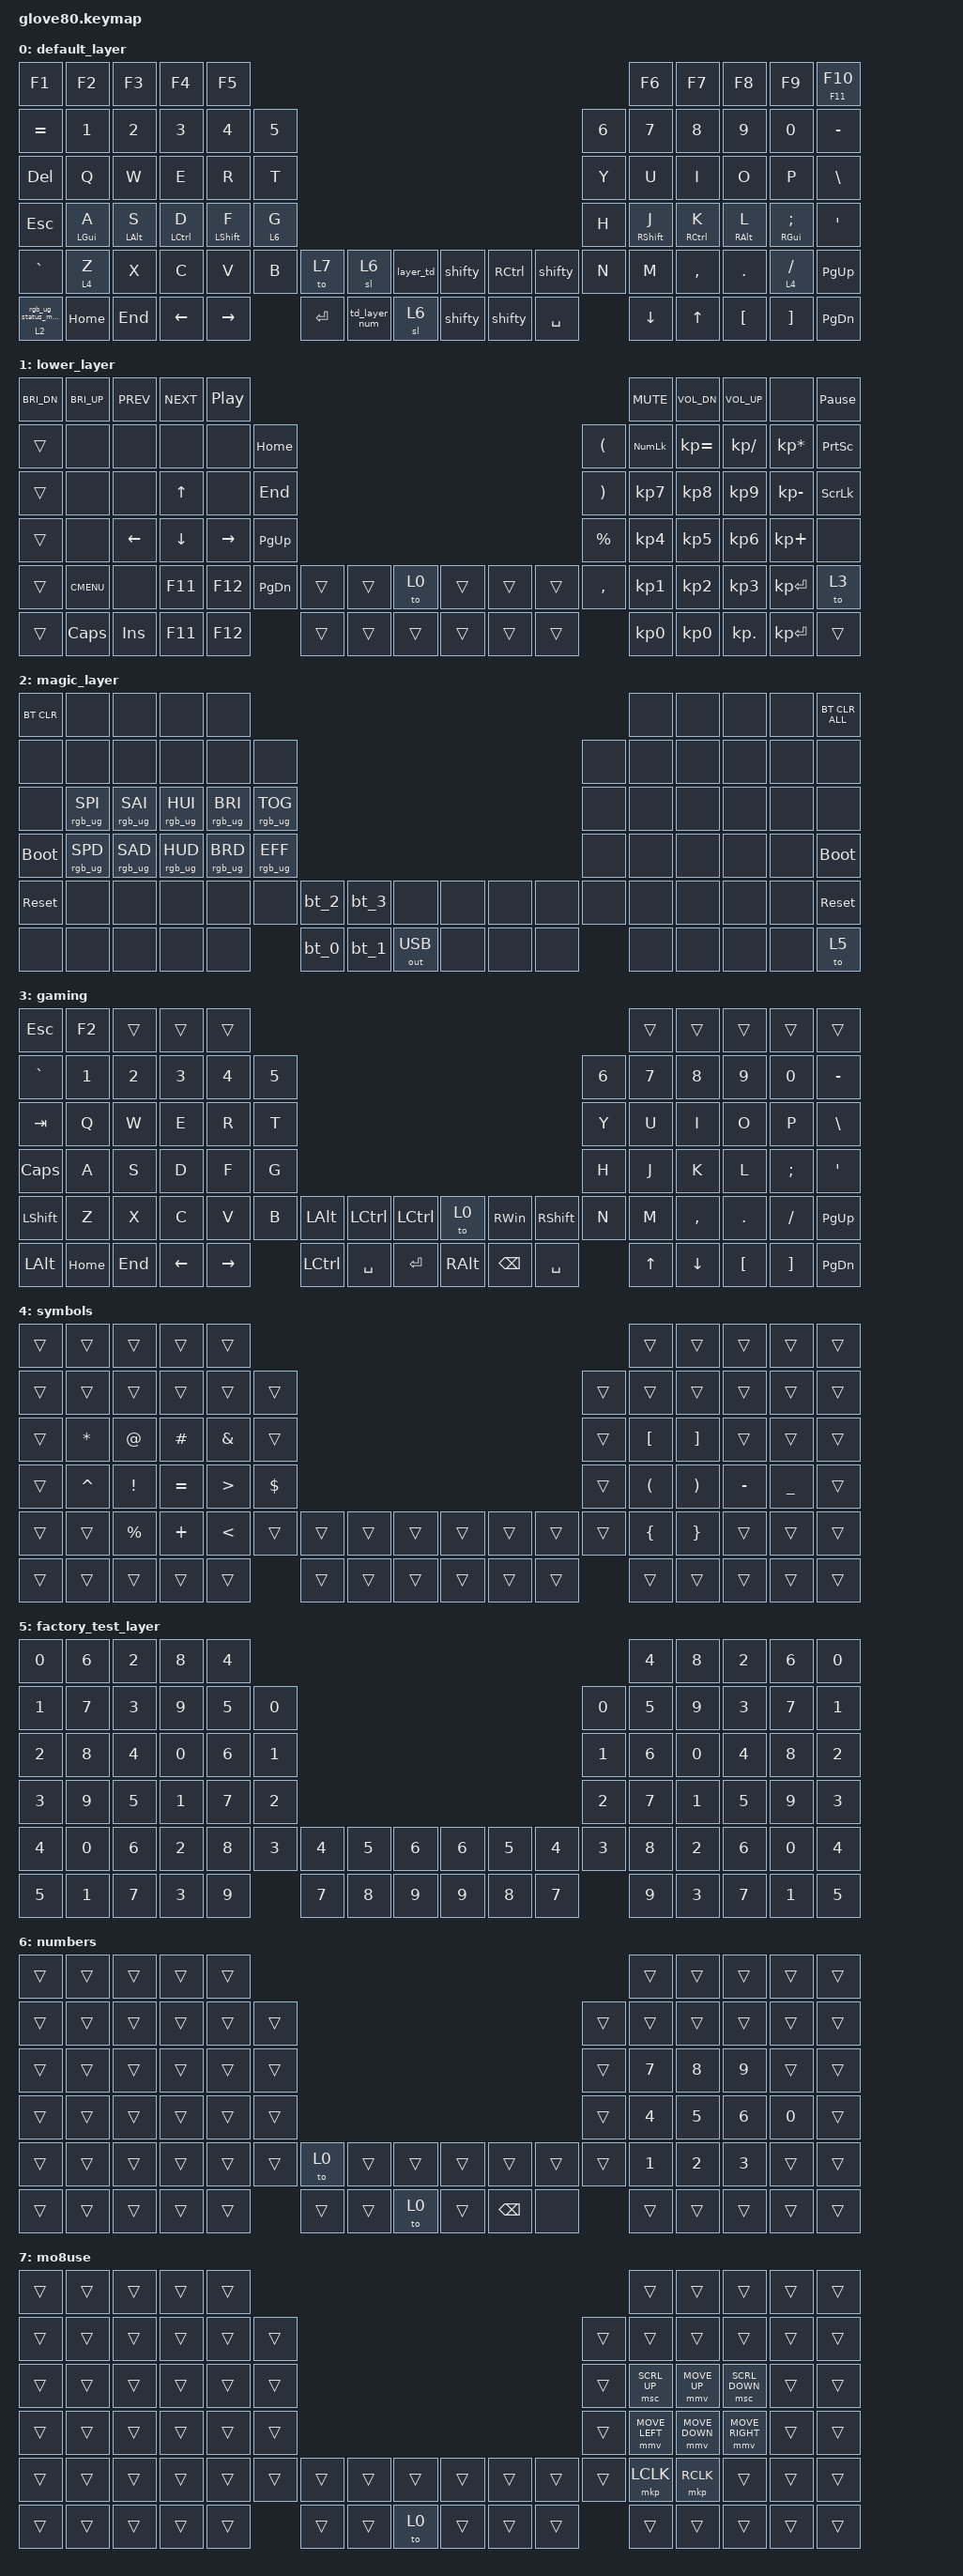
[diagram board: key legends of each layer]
/*
 * Copyright (c) 2020 The ZMK Contributors
 *
 * SPDX-License-Identifier: MIT
 */

#include <behaviors.dtsi>
#include <dt-bindings/zmk/bt.h>
#include <dt-bindings/zmk/keys.h>
#include <dt-bindings/zmk/outputs.h>
#include <dt-bindings/zmk/pointing.h>
#include <dt-bindings/zmk/rgb.h>

#define HYPER LC(LS(LG(LALT)))

// layers

#define DEFAULT 0
#define LOWER 1
#define MAGIC 2
#define FACTORY_TEST 3
#define SHORT_COMBO_TIMEOUT 18
#define COMBO_TIMEOUT_LEFT 18
#define PRIOR_IDLE_COMBO 150
#define HOME_ROW_MOD_IDLE 150
#define MOD_FLAVOR "balanced"
#define MOD_TAP_TERM 280
#define MOD_QUICK_TAP 200

&sk { quick-release; };

/ {
    behaviors {
        // For the "layer" key, it'd nice to be able to use it as either a shift or a toggle.
        // Configure it as a tap dance, so the first tap (or hold) is a &mo and the second tap is a &to

        layer_td: tap_dance_0 {
            compatible = "zmk,behavior-tap-dance";
            label = "LAYER_TAP_DANCE";
            #binding-cells = <0>;
            tapping-term-ms = <200>;
            bindings = <&mo 1>, <&to 1>;
        };

        magic: magic_hold_tap {
            compatible = "zmk,behavior-hold-tap";
            label = "MAGIC_HOLD_TAP";
            #binding-cells = <2>;
            flavor = "tap-preferred";
            tapping-term-ms = <200>;
            bindings = <&mo>, <&rgb_ug_status_macro>;
        };

        hml: hml {
            compatible = "zmk,behavior-hold-tap";
            label = "HML";
            bindings = <&kp>, <&kp>;

            #binding-cells = <2>;
            tapping-term-ms = <MOD_TAP_TERM>;
            hold-trigger-on-release;
            quick-tap-ms = <MOD_QUICK_TAP>;
            require-prior-idle-ms = <HOME_ROW_MOD_IDLE>;
            flavor =
            MOD_FLAVOR;
            hold-trigger-key-positions = <55 56 57 73 74 72 79 78 62 63 45 44 33 32 21 20 9 8 7 19 31 43 77 76 60 61 42 30 18 6 5 17 29 41 75 58 40 59 28 16 52 53 54 71 70 69>;
        };

        hmr: hmr {
            compatible = "zmk,behavior-hold-tap";
            label = "HMR";
            bindings = <&kp>, <&kp>;

            #binding-cells = <2>;
            tapping-term-ms = <MOD_TAP_TERM>;
            hold-trigger-on-release;
            quick-tap-ms = <MOD_QUICK_TAP>;
            require-prior-idle-ms = <HOME_ROW_MOD_IDLE>;
            flavor =
            MOD_FLAVOR;
            hold-trigger-key-positions = <54 71 70 53 52 69 68 51 50 38 39 27 26 14 4 15 3 13 25 37 49 67 66 36 24 12 2 1 11 23 35 47 48 65 64 46 34 22 10 0 55 56 57 74 73 72>;
        };

        hml_shift: hml_shift {
            compatible = "zmk,behavior-hold-tap";
            label = "HML_SHIFT";
            bindings = <&kp>, <&kp>;

            #binding-cells = <2>;
            tapping-term-ms = <280>;
            quick-tap-ms = <200>;
            flavor = "balanced";
            hold-trigger-key-positions = <55 56 57 73 74 72 79 78 62 63 45 44 33 32 21 20 9 8 7 19 31 43 77 76 60 61 42 30 18 6 5 17 29 41 75 58 40 59 28 16 52 53 54 71 70 69>;
            hold-trigger-on-release;
        };

        hmr_shift: hmr_shift {
            compatible = "zmk,behavior-hold-tap";
            label = "HMR_SHIFT";
            bindings = <&kp>, <&kp>;

            #binding-cells = <2>;
            tapping-term-ms = <280>;
            quick-tap-ms = <200>;
            flavor = "balanced";
            hold-trigger-key-positions = <54 71 70 53 52 69 68 51 50 38 39 27 26 14 4 15 3 13 25 37 49 67 66 36 24 12 2 1 11 23 35 47 48 65 64 46 34 22 10 0 55 56 57 74 73 72>;
            hold-trigger-on-release;
        };

        sticky_shift: sticky_shift {
            compatible = "zmk,behavior-sticky-key";
            label = "STICKY_SHIFT";
            bindings = <&sk>;
            #binding-cells = <1>;
            release-after-ms = <300>;
            quick-release;
        };

        lt_left: lt_left {
            compatible = "zmk,behavior-hold-tap";
            label = "LT_LEFT";
            bindings = <&mo>, <&kp>;

            #binding-cells = <2>;
            tapping-term-ms = <175>;
            quick-tap-ms = <200>;
            flavor = "balanced";
            hold-trigger-key-positions = <55 56 57 73 74 72 79 78 62 63 45 44 33 32 21 20 9 8 7 19 31 43 77 76 60 61 42 30 18 6 5 17 29 41 75 58 40 59 28 16 52 53 54 71 70 69>;
            hold-trigger-on-release;
        };

        lt_right: lt_right {
            compatible = "zmk,behavior-hold-tap";
            label = "LT_RIGHT";
            bindings = <&mo>, <&kp>;

            #binding-cells = <2>;
            tapping-term-ms = <175>;
            quick-tap-ms = <200>;
            flavor = "balanced";
            hold-trigger-key-positions = <54 71 70 53 52 69 68 51 50 38 39 27 26 14 4 15 3 13 25 37 49 67 66 36 24 12 2 1 11 23 35 47 48 65 64 46 34 22 10 0 55 56 57 74 73 72>;
            hold-trigger-on-release;
        };

        shifty: shifty {
            compatible = "zmk,behavior-mod-morph";
            label = "SHIFTY";
            bindings = <&sticky_shift LEFT_SHIFT>, <&caps_word>;

            #binding-cells = <0>;
            mods = <(MOD_LSFT)>;
        };

        layer_left: layer_left {
            compatible = "zmk,behavior-hold-tap";
            label = "LAYER_LEFT";
            bindings = <&mo>, <&kp>;

            #binding-cells = <2>;
            tapping-term-ms = <280>;
            hold-trigger-on-release;
            quick-tap-ms = <200>;
            require-prior-idle-ms = <125>;
            flavor = "balanced";
            hold-trigger-key-positions = <55 56 57 73 74 72 79 78 62 63 45 44 33 32 21 20 9 8 7 19 31 43 77 76 60 61 42 30 18 6 5 17 29 41 75 58 40 59 28 16 52 53 54 71 70 69>;
        };

        layer_right: layer_right {
            compatible = "zmk,behavior-hold-tap";
            label = "LAYER_RIGHT";
            bindings = <&mo>, <&kp>;

            #binding-cells = <2>;
            tapping-term-ms = <280>;
            hold-trigger-on-release;
            quick-tap-ms = <200>;
            require-prior-idle-ms = <125>;
            flavor = "balanced";
            hold-trigger-key-positions = <54 71 70 53 52 69 68 51 50 38 39 27 26 14 4 15 3 13 25 37 49 67 66 36 24 12 2 1 11 23 35 47 48 65 64 46 34 22 10 0 55 56 57 74 73 72>;
        };

        td_layer_num: td_layer_num {
            compatible = "zmk,behavior-tap-dance";
            label = "TD_LAYER_NUM";
            #binding-cells = <0>;
            tapping-term-ms = <400>;
            bindings = <&sl 4>, <&to 6>;
        };
    };

    macros {
        rgb_ug_status_macro: rgb_ug_status_macro_0 {
            label = "RGB_UG_STATUS";
            compatible = "zmk,behavior-macro";
            #binding-cells = <0>;
            bindings = <&rgb_ug RGB_STATUS>;
        };

        bt_0: bt_profile_macro_0 {
            label = "BT_0";
            compatible = "zmk,behavior-macro";
            #binding-cells = <0>;
            bindings = <&out OUT_BLE &bt BT_SEL 0>;
        };

        bt_1: bt_profile_macro_1 {
            label = "BT_1";
            compatible = "zmk,behavior-macro";
            #binding-cells = <0>;
            bindings = <&out OUT_BLE &bt BT_SEL 1>;
        };

        bt_2: bt_profile_macro_2 {
            label = "BT_2";
            compatible = "zmk,behavior-macro";
            #binding-cells = <0>;
            bindings = <&out OUT_BLE &bt BT_SEL 2>;
        };

        bt_3: bt_profile_macro_3 {
            label = "BT_3";
            compatible = "zmk,behavior-macro";
            #binding-cells = <0>;
            bindings = <&out OUT_BLE &bt BT_SEL 3>;
        };
    };

    combos {
        compatible = "zmk,combos";
        require-prior-idle-ms = <PRIOR_IDLE_COMBO>;

        right_paren {
            bindings = <&hmr RC(RIGHT_ALT) RIGHT_PARENTHESIS>;
            key-positions = <42 43>;
            timeout-ms = <SHORT_COMBO_TIMEOUT>;
            require-prior-idle-ms = <PRIOR_IDLE_COMBO>;
            layers = <0>;
        };

        left_bracket {
            bindings = <&kp LEFT_BRACKET>;
            key-positions = <29 30>;
            timeout-ms = <SHORT_COMBO_TIMEOUT>;
            require-prior-idle-ms = <PRIOR_IDLE_COMBO>;
            layers = <0>;
        };

        right_bracket {
            bindings = <&kp RIGHT_BRACKET>;
            key-positions = <30 31>;
            timeout-ms = <SHORT_COMBO_TIMEOUT>;
            require-prior-idle-ms = <PRIOR_IDLE_COMBO>;
            layers = <0>;
        };

        left_brace {
            bindings = <&kp LEFT_BRACE>;
            key-positions = <59 60>;
            timeout-ms = <SHORT_COMBO_TIMEOUT>;
            require-prior-idle-ms = <PRIOR_IDLE_COMBO>;
            layers = <0>;
        };

        right_brace {
            bindings = <&kp RIGHT_BRACE>;
            key-positions = <60 61>;
            timeout-ms = <SHORT_COMBO_TIMEOUT>;
            require-prior-idle-ms = <PRIOR_IDLE_COMBO>;
            layers = <0>;
        };

        underscore {
            bindings = <&hmr LC(LEFT_ALT) UNDERSCORE>;
            key-positions = <37 36>;
            timeout-ms = <COMBO_TIMEOUT_LEFT>;
            require-prior-idle-ms = <PRIOR_IDLE_COMBO>;
            layers = <0>;
        };

        plus {
            bindings = <&kp PLUS>;
            key-positions = <26 25>;
            timeout-ms = <COMBO_TIMEOUT_LEFT>;
            require-prior-idle-ms = <PRIOR_IDLE_COMBO>;
            layers = <0>;
        };

        equals {
            bindings = <&kp EQUAL>;
            key-positions = <25 24>;
            timeout-ms = <COMBO_TIMEOUT_LEFT>;
            require-prior-idle-ms = <PRIOR_IDLE_COMBO>;
            layers = <0>;
        };

        bang {
            bindings = <&kp EXCLAMATION>;
            key-positions = <23 24>;
            timeout-ms = <COMBO_TIMEOUT_LEFT>;
            require-prior-idle-ms = <150>;
            layers = <0>;
        };

        at {
            bindings = <&hml LEFT_SHIFT AT>;
            key-positions = <49 38>;
            timeout-ms = <COMBO_TIMEOUT_LEFT>;
            require-prior-idle-ms = <PRIOR_IDLE_COMBO>;
            layers = <0>;
        };

        // star {
        //   bindings = <&kp ASTERISK>;
        // key-positions = <31 32>;
        //timeout-ms = <SHORT_COMBO_TIMEOUT>;
        //require-prior-idle-ms = <PRIOR_IDLE_COMBO>;
        //layers = <0>;
        //};

        percent {
            bindings = <&hml LEFT_ALT PERCENT>;
            key-positions = <37 50>;
            timeout-ms = <COMBO_TIMEOUT_LEFT>;
            require-prior-idle-ms = <PRIOR_IDLE_COMBO>;
            layers = <0>;
        };

        lessthan {
            bindings = <&kp LESS_THAN>;
            key-positions = <50 51>;
            timeout-ms = <COMBO_TIMEOUT_LEFT>;
            require-prior-idle-ms = <PRIOR_IDLE_COMBO>;
            layers = <0>;
        };

        greaterthan {
            bindings = <&kp GREATER_THAN>;
            key-positions = <58 59>;
            timeout-ms = <SHORT_COMBO_TIMEOUT>;
            require-prior-idle-ms = <PRIOR_IDLE_COMBO>;
            layers = <0>;
        };

        qmark {
            bindings = <&kp QUESTION>;
            key-positions = <43 44>;
            timeout-ms = <SHORT_COMBO_TIMEOUT>;
            require-prior-idle-ms = <PRIOR_IDLE_COMBO>;
            layers = <0>;
        };

        car {
            bindings = <&hmr LS(LEFT_ALT) CARET>;
            key-positions = <38 36>;
            timeout-ms = <COMBO_TIMEOUT_LEFT>;
            require-prior-idle-ms = <PRIOR_IDLE_COMBO>;
            layers = <0>;
        };

        dollar {
            bindings = <&hmr RS(RIGHT_ALT) DOLLAR>;
            key-positions = <41 43>;
            timeout-ms = <SHORT_COMBO_TIMEOUT>;
            require-prior-idle-ms = <PRIOR_IDLE_COMBO>;
            layers = <0>;
        };

        star {
            bindings = <&hmr RIGHT_SHIFT ASTERISK>;
            key-positions = <41 30>;
            timeout-ms = <SHORT_COMBO_TIMEOUT>;
            require-prior-idle-ms = <PRIOR_IDLE_COMBO>;
            layers = <0>;
        };

        cash {
            bindings = <&hmr RIGHT_ALT DOLLAR>;
            key-positions = <30 43>;
            timeout-ms = <SHORT_COMBO_TIMEOUT>;
            require-prior-idle-ms = <PRIOR_IDLE_COMBO>;
            layers = <0>;
        };

        ampersand {
            bindings = <&hmr LEFT_SHIFT AMPERSAND>;
            key-positions = <38 25>;
            timeout-ms = <COMBO_TIMEOUT_LEFT>;
            require-prior-idle-ms = <PRIOR_IDLE_COMBO>;
            layers = <0>;
        };

        excl {
            bindings = <&hmr LEFT_ALT EXCL>;
            key-positions = <25 36>;
            timeout-ms = <COMBO_TIMEOUT_LEFT>;
            require-prior-idle-ms = <PRIOR_IDLE_COMBO>;
            layers = <0>;
        };

        b {
            bindings = <&hmr RS(RIGHT_CONTROL) BACKSPACE>;
            key-positions = <41 42>;
            layers = <0 6 1>;
        };

        tab {
            bindings = <&hml LS(LEFT_CONTROL) TAB>;
            key-positions = <38 37>;
            layers = <0>;
        };
    };

    keymap {
        compatible = "zmk,keymap";

        default_layer {
            // ---------------------------------------------------------------------------------------------------------------------------------
            // |  F1   |  F2 |  F3 |  F4  |  F5  |                                                               |  F6   |  F7   |  F8  |   F9  |  F10 |
            // |  =    |  1  |  2  |  3   |  4   |  5   |                                                 |  6   |   7   |   8   |  9   |   0   |   -  |
            // |  TAB  |  Q  |  W  |  E   |  R   |  T   |                                                 |  Y   |   U   |   I   |  O   |   P   |   \  |
            // |  ESC  |  A  |  S  |  D   |  F   |  G   |                                                 |  H   |   J   |   K   |  L   |   ;   |   '  |
            // |   `   |  Z  |  X  |  C   |  V   |  B   | LSHFT | LCTRL | LOWER | | LGUI  | RCTRL | RSHFT |  N   |   M   |   ,   |  .   |   /   | PGUP |
            // | MAGIC | HOME| END | LEFT | RIGHT|      | BSPC  | DEL   | LALT  | | RALT  | RET   | SPACE |      |  UP   | DOWN  |  [   |   ]   | PGDN |

            bindings = <
&kp F1      &kp F2           &kp F3           &kp F4               &kp F5                                                                                                          &kp F6              &kp F7                &kp F8            &kp F9                    &mt F11 F10
&kp EQUAL   &kp N1           &kp N2           &kp N3               &kp N4             &kp N5                                                                               &kp N6  &kp N7              &kp N8                &kp N9            &kp N0                    &kp MINUS
&kp DEL     &kp Q            &kp W            &kp E                &kp R              &kp T                                                                                &kp Y   &kp U               &kp I                 &kp O             &kp P                     &kp BSLH
&kp ESC     &hml LEFT_GUI A  &hml LEFT_ALT S  &hml LEFT_CONTROL D  &hml LEFT_SHIFT F  &layer_left 6 G                                                                      &kp H   &hmr RIGHT_SHIFT J  &hmr RIGHT_CONTROL K  &hmr RIGHT_ALT L  &hmr RIGHT_GUI SEMICOLON  &kp SQT
&kp GRAVE   &layer_left 4 Z  &kp X            &kp C                &kp V              &kp B            &to 7      &sl 6          &layer_td  &shifty  &kp RCTRL  &shifty    &kp N   &kp M               &kp COMMA             &kp DOT           &layer_right 4 SLASH      &kp PG_UP
&magic 2 0  &kp HOME         &kp END          &kp LEFT             &kp RIGHT                           &kp ENTER  &td_layer_num  &sl 6      &shifty  &shifty    &kp SPACE          &kp DOWN            &kp UP_ARROW          &kp LEFT_BRACKET  &kp RBKT                  &kp PG_DN
            >;
        };

        lower_layer {
            bindings = <
&kp C_BRI_DN  &kp C_BRI_UP  &kp C_PREV  &kp C_NEXT  &kp C_PP                                                                         &kp C_MUTE  &kp C_VOL_DN  &kp C_VOL_UP   &none            &kp PAUSE_BREAK
&trans        &none         &none       &none       &none      &kp HOME                                                   &kp LPAR   &kp KP_NUM  &kp KP_EQUAL  &kp KP_DIVIDE  &kp KP_MULTIPLY  &kp PSCRN
&trans        &none         &none       &kp UP      &none      &kp END                                                    &kp RPAR   &kp KP_N7   &kp KP_N8     &kp KP_N9      &kp KP_MINUS     &kp SLCK
&trans        &none         &kp LEFT    &kp DOWN    &kp RIGHT  &kp PG_UP                                                  &kp PRCNT  &kp KP_N4   &kp KP_N5     &kp KP_N6      &kp KP_PLUS      &none
&trans        &kp K_CMENU   &none       &kp F11     &kp F12    &kp PG_DN  &trans  &trans  &to 0   &trans  &trans  &trans  &kp COMMA  &kp KP_N1   &kp KP_N2     &kp KP_N3      &kp KP_ENTER     &to 3
&trans        &kp CAPS      &kp INS     &kp F11     &kp F12               &trans  &trans  &trans  &trans  &trans  &trans             &kp KP_N0   &kp KP_N0     &kp KP_DOT     &kp KP_ENTER     &trans
            >;
        };

        magic_layer {
            bindings = <
&bt BT_CLR   &none            &none            &none            &none                                                                                     &none  &none  &none  &none  &bt BT_CLR_ALL
&none        &none            &none            &none            &none            &none                                                             &none  &none  &none  &none  &none  &none
&none        &rgb_ug RGB_SPI  &rgb_ug RGB_SAI  &rgb_ug RGB_HUI  &rgb_ug RGB_BRI  &rgb_ug RGB_TOG                                                   &none  &none  &none  &none  &none  &none
&bootloader  &rgb_ug RGB_SPD  &rgb_ug RGB_SAD  &rgb_ug RGB_HUD  &rgb_ug RGB_BRD  &rgb_ug RGB_EFF                                                   &none  &none  &none  &none  &none  &bootloader
&sys_reset   &none            &none            &none            &none            &none            &bt_2  &bt_3  &none         &none  &none  &none  &none  &none  &none  &none  &none  &sys_reset
&none        &none            &none            &none            &none                             &bt_0  &bt_1  &out OUT_USB  &none  &none  &none         &none  &none  &none  &none  &to 5
            >;
        };

        gaming {
            bindings = <
&kp ESC    &kp F2    &trans   &trans    &trans                                                                                          &trans  &trans     &trans    &trans     &trans
&kp GRAVE  &kp N1    &kp N2   &kp N3    &kp N4     &kp N5                                                                       &kp N6  &kp N7  &kp N8     &kp N9    &kp N0     &kp MINUS
&kp TAB    &kp Q     &kp W    &kp E     &kp R      &kp T                                                                        &kp Y   &kp U   &kp I      &kp O     &kp P      &kp BSLH
&kp CLCK   &kp A     &kp S    &kp D     &kp F      &kp G                                                                        &kp H   &kp J   &kp K      &kp L     &kp SEMI   &kp SQT
&kp LSHFT  &kp Z     &kp X    &kp C     &kp V      &kp B   &kp LALT   &kp LCTRL  &kp LCTRL  &to 0     &kp RIGHT_WIN  &kp RSHFT  &kp N   &kp M   &kp COMMA  &kp DOT   &kp SLASH  &kp PAGE_UP
&kp LALT   &kp HOME  &kp END  &kp LEFT  &kp RIGHT          &kp LCTRL  &kp SPACE  &kp RET    &kp RALT  &kp BSPC       &kp SPACE          &kp UP  &kp DOWN   &kp LBKT  &kp RBKT   &kp PG_DN
            >;
        };

        symbols {
            bindings = <
&trans  &trans        &trans           &trans     &trans                                                                                &trans                &trans                 &trans     &trans     &trans
&trans  &trans        &trans           &trans     &trans            &trans                                                      &trans  &trans                &trans                 &trans     &trans     &trans
&trans  &kp ASTERISK  &kp AT_SIGN      &kp HASH   &kp AMPERSAND     &trans                                                      &trans  &kp LEFT_BRACKET      &kp RIGHT_BRACKET      &trans     &trans     &trans
&trans  &kp CARET     &kp EXCLAMATION  &kp EQUAL  &kp GREATER_THAN  &kp DOLLAR                                                  &trans  &kp LEFT_PARENTHESIS  &kp RIGHT_PARENTHESIS  &kp MINUS  &kp UNDER  &trans
&trans  &trans        &kp PERCENT      &kp PLUS   &kp LESS_THAN     &trans      &trans  &trans  &trans  &trans  &trans  &trans  &trans  &kp LEFT_BRACE        &kp RIGHT_BRACE        &trans     &trans     &trans
&trans  &trans        &trans           &trans     &trans                        &trans  &trans  &trans  &trans  &trans  &trans          &trans                &trans                 &trans     &trans     &trans
            >;
        };

        factory_test_layer {
            bindings = <
&kp N0  &kp N6  &kp N2  &kp N8  &kp N4                                                                  &kp N4  &kp N8  &kp N2  &kp N6  &kp N0
&kp N1  &kp N7  &kp N3  &kp N9  &kp N5  &kp N0                                                  &kp N0  &kp N5  &kp N9  &kp N3  &kp N7  &kp N1
&kp N2  &kp N8  &kp N4  &kp N0  &kp N6  &kp N1                                                  &kp N1  &kp N6  &kp N0  &kp N4  &kp N8  &kp N2
&kp N3  &kp N9  &kp N5  &kp N1  &kp N7  &kp N2                                                  &kp N2  &kp N7  &kp N1  &kp N5  &kp N9  &kp N3
&kp N4  &kp N0  &kp N6  &kp N2  &kp N8  &kp N3  &kp N4  &kp N5  &kp N6  &kp N6  &kp N5  &kp N4  &kp N3  &kp N8  &kp N2  &kp N6  &kp N0  &kp N4
&kp N5  &kp N1  &kp N7  &kp N3  &kp N9          &kp N7  &kp N8  &kp N9  &kp N9  &kp N8  &kp N7          &kp N9  &kp N3  &kp N7  &kp N1  &kp N5
            >;
        };

        numbers {
            bindings = <
&trans  &trans  &trans  &trans  &trans                                                                    &trans  &trans  &trans  &trans  &trans
&trans  &trans  &trans  &trans  &trans  &trans                                                    &trans  &trans  &trans  &trans  &trans  &trans
&trans  &trans  &trans  &trans  &trans  &trans                                                    &trans  &kp N7  &kp N8  &kp N9  &trans  &trans
&trans  &trans  &trans  &trans  &trans  &trans                                                    &trans  &kp N4  &kp N5  &kp N6  &kp N0  &trans
&trans  &trans  &trans  &trans  &trans  &trans  &to 0   &trans  &trans  &trans  &trans    &trans  &trans  &kp N1  &kp N2  &kp N3  &trans  &trans
&trans  &trans  &trans  &trans  &trans          &trans  &trans  &to 0   &trans  &kp BSPC  &none           &trans  &trans  &trans  &trans  &trans
            >;
        };

        mo8use {
            bindings = <
&trans  &trans  &trans  &trans  &trans                                                                  &trans          &trans          &trans           &trans  &trans
&trans  &trans  &trans  &trans  &trans  &trans                                                  &trans  &trans          &trans          &trans           &trans  &trans
&trans  &trans  &trans  &trans  &trans  &trans                                                  &trans  &msc SCRL_UP    &mmv MOVE_UP    &msc SCRL_DOWN   &trans  &trans
&trans  &trans  &trans  &trans  &trans  &trans                                                  &trans  &mmv MOVE_LEFT  &mmv MOVE_DOWN  &mmv MOVE_RIGHT  &trans  &trans
&trans  &trans  &trans  &trans  &trans  &trans  &trans  &trans  &trans  &trans  &trans  &trans  &trans  &mkp LCLK       &mkp RCLK       &trans           &trans  &trans
&trans  &trans  &trans  &trans  &trans          &trans  &trans  &to 0   &trans  &trans  &trans          &trans          &trans          &trans           &trans  &trans
            >;
        };
    };
};
